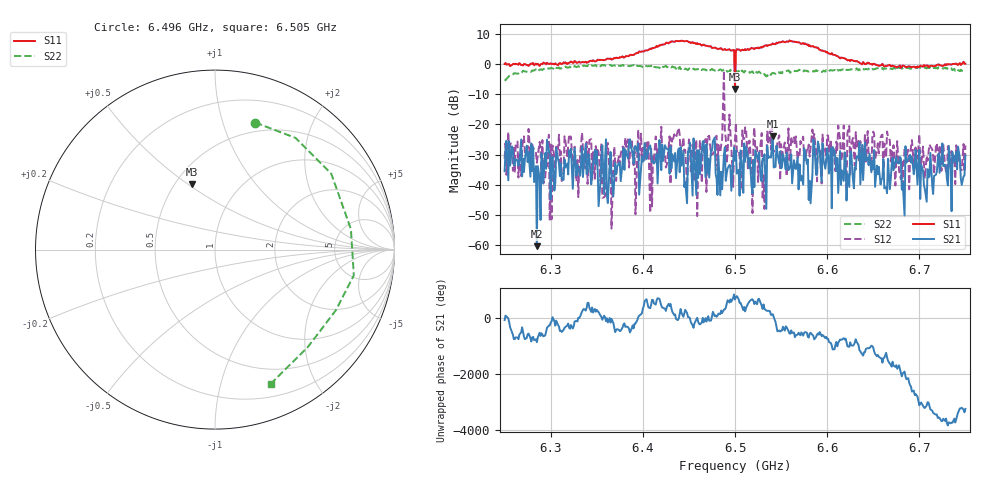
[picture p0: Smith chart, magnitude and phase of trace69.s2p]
# Hz S RI R 50
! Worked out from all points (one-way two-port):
!   401 points, 6.25 GHz to 6.75 GHz, reference 50 ohm
!   highest |S21| = -24.01 dB at 6.541 GHz (marker M1); lowest = -60.4 dB at 6.285 GHz (marker M2)
!   lowest |S11| = -8.3 dB at 6.5 GHz (marker M3), VSWR 2.26, Z = 30.2 + j25.8 ohm
!   |S11| at or under -10 dB: nowhere
!   |S22| runs from -5.5 to -0.3 dB; largest |S21 - S12| = 0.76
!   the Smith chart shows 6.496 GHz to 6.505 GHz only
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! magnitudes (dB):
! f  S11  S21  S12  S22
! 6.25 GHz  0.0  -35.5  -31.4  -5.5
! 6.279 GHz  0.2  -26.3  -28.2  -2.5
! 6.285 GHz  -0.2  -60.4  -32.7  -1.8
! 6.296 GHz  0.4  -25.1  -33.9  -1.5
! 6.302 GHz  0.1  -30.7  -27.0  -1.4
! 6.334 GHz  0.6  -27.3  -22.7  -1.0
! 6.356 GHz  1.3  -27.0  -44.3  -0.4
! 6.381 GHz  2.4  -28.4  -24.4  -0.4
! 6.404 GHz  4.5  -31.5  -26.0  -0.7
! 6.41 GHz  5.3  -32.5  -47.5  -1.3
! 6.418 GHz  6.2  -25.2  -28.8  -1.2
! 6.438 GHz  7.6  -29.2  -22.1  -0.8
! 6.461 GHz  6.6  -28.5  -30.6  -1.4
! 6.488 GHz  4.8  -30.0  -2.2  -1.8
! 6.5 GHz  -8.3  -32.0  -24.8  -2.3
! 6.51 GHz  4.6  -26.3  -24.8  -2.8
! 6.531 GHz  5.7  -31.7  -36.9  -2.9
! 6.541 GHz  6.8  -24.0  -28.1  -2.9
! 6.584 GHz  5.9  -36.7  -21.7  -2.4
! 6.668 GHz  -0.3  -41.4  -25.2  -1.5
! 6.68 GHz  -1.3  -31.3  -38.2  -1.2
! 6.75 GHz  0.1  -30.3  -27.0  -2.0
